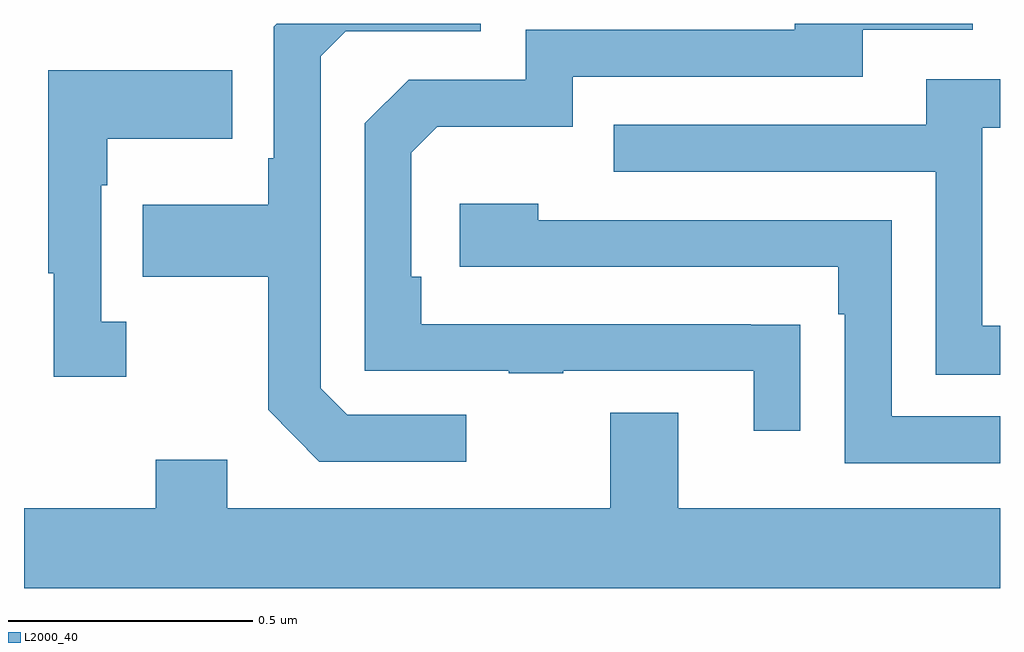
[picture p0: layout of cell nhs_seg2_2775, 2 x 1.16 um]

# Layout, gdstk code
import gdstk
lib = gdstk.Library(unit=1e-6, precision=1e-09)
def P(c, l, *ps):  # polygons
    for p in ps: c.add(gdstk.Polygon(p, *l))
L2000_40 = (2000, 40)

nhs_seg2_2775 = lib.new_cell('nhs_seg2_2775')
P(nhs_seg2_2775, L2000_40, [(146.591,640.184),(146.489,640.184),(146.489,640.185),(145.814,640.185),(145.814,640.282),(145.794,640.282),(145.794,640.536),(145.847,640.589),(146.124,640.589),(146.124,640.692),(146.719,640.692),(146.719,640.788),(146.944,640.788),(146.944,640.8),(146.579,640.8),(146.579,640.788),(146.028,640.788),(146.028,640.686),(145.788,640.686),(145.698,640.596),(145.698,640.089),(145.993,640.089),(145.993,640.084),(146.105,640.084),(146.105,640.089),(146.495,640.089),(146.495,639.966),(146.591,639.966)],
  [(145.906,639.999),(145.662,639.999),(145.608,640.053),(145.608,640.734),(145.659,640.785),(145.936,640.785),(145.936,640.8),(145.518,640.8),(145.512,640.794),(145.512,640.525),(145.5,640.525),(145.5,640.429),(145.243,640.429),(145.243,640.282),(145.5,640.282),(145.5,640.009),(145.605,639.903),(145.906,639.903)],
  [(145.21,640.19),(145.158,640.19),(145.158,640.469),(145.171,640.469),(145.171,640.565),(145.427,640.565),(145.427,640.705),(145.05,640.705),(145.05,640.289),(145.061,640.289),(145.061,640.077),(145.21,640.077)],
  [(147,640.182),(146.964,640.182),(146.964,640.587),(147,640.587),(147,640.687),(146.849,640.687),(146.849,640.593),(146.209,640.593),(146.209,640.497),(146.868,640.497),(146.868,640.081),(147,640.081)],
  [(147,639.996),(146.778,639.996),(146.778,640.398),(146.054,640.398),(146.054,640.432),(145.893,640.432),(145.893,640.302),(146.669,640.302),(146.669,640.205),(146.682,640.205),(146.682,639.9),(147,639.9)],
  [(147,639.808),(146.341,639.808),(146.341,640.003),(146.201,640.003),(146.201,639.808),(145.417,639.808),(145.417,639.907),(145.27,639.907),(145.27,639.808),(145,639.808),(145,639.644),(147,639.644)])

lib.write_gds('nhs_seg2_2775.gds')
